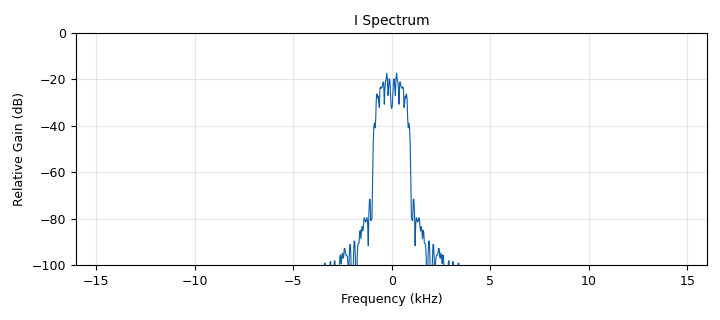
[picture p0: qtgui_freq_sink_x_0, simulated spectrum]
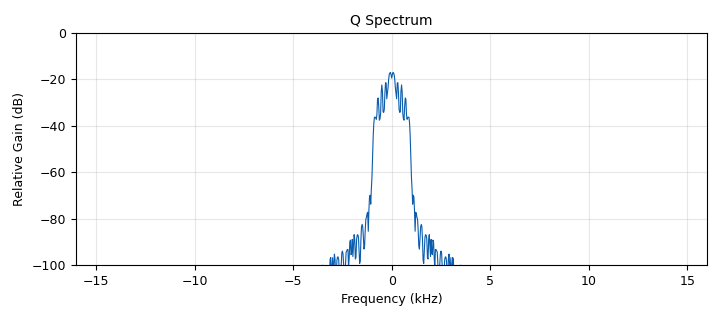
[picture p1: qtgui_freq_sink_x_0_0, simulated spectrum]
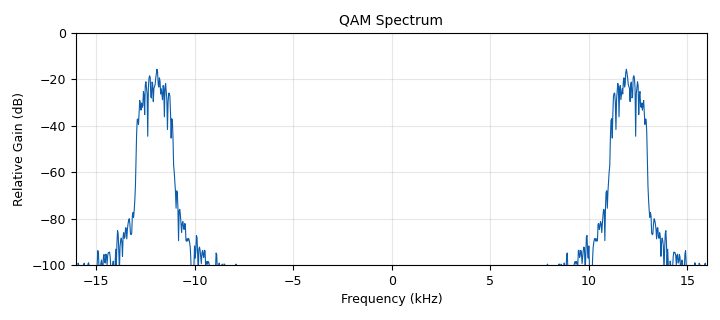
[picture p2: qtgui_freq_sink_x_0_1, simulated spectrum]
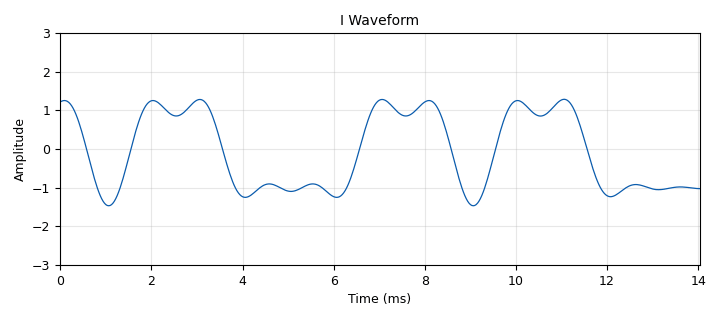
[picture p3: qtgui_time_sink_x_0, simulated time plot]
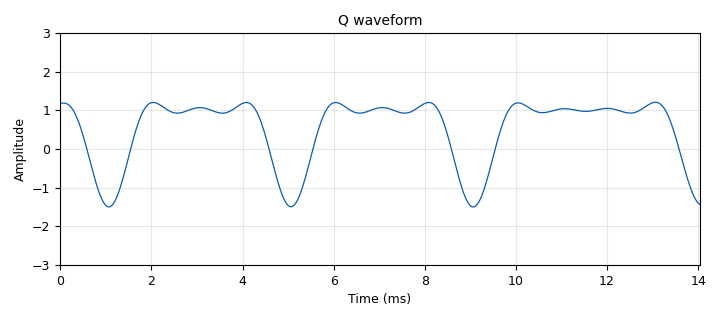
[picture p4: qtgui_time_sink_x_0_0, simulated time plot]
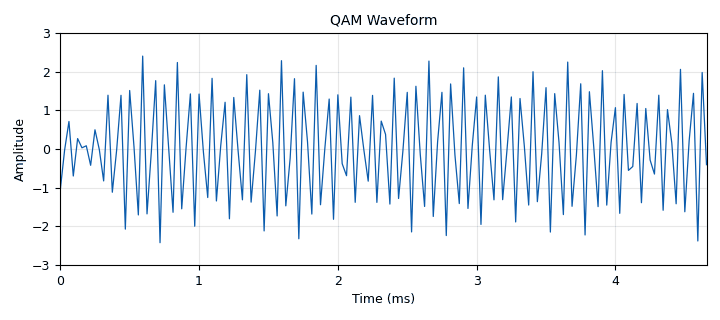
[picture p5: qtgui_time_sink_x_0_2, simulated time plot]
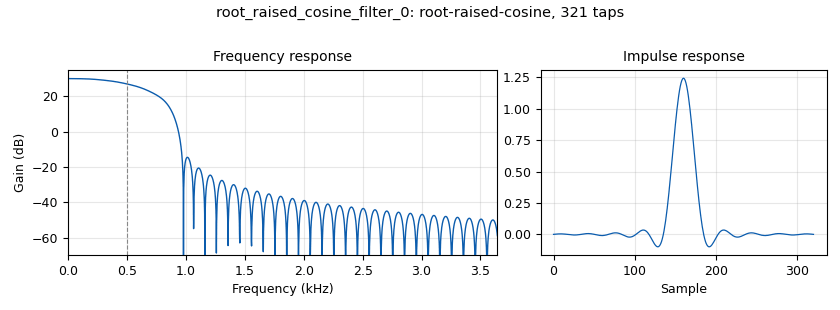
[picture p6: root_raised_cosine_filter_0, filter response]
options:
  parameters:
    author: Qasim Chaudhari
    generate_options: qt_gui
    id: qam_tx_passband
    output_language: python
    title: QAM Tx Passband
  states: {}

blocks:
- name: carrier_freq
  id: variable
  parameters:
    value: '12000'
  states: {}
- name: excess_bw
  id: variable
  parameters:
    value: '0.9'
  states: {}
- name: mod_order
  id: variable
  parameters:
    value: '4'
  states: {}
- name: samp_per_sym
  id: variable
  parameters:
    value: '32'
  states: {}
- name: samp_rate
  id: variable
  parameters:
    value: '32000'
  states: {}
- name: analog_random_source_x_0
  id: analog_random_source_x
  parameters:
    comment: Bits Generation
    max: '2'
    min: '0'
    num_samps: '1000'
    repeat: 'True'
    type: byte
  states: {}
- name: analog_sig_source_x_0
  id: analog_sig_source_x
  parameters:
    amp: math.sqrt(2)
    comment: Local Oscillator Cosine
    freq: carrier_freq
    offset: '0'
    phase: '0'
    samp_rate: samp_rate
    type: float
    waveform: analog.GR_COS_WAVE
  states: {}
- name: analog_sig_source_x_0_0
  id: analog_sig_source_x
  parameters:
    amp: '-math.sqrt(2)'
    comment: Local Oscillator Sine
    freq: carrier_freq
    offset: '0'
    phase: '0'
    samp_rate: samp_rate
    type: float
    waveform: analog.GR_SIN_WAVE
  states: {}
- name: blocks_add_xx_0
  id: blocks_add_xx
  parameters:
    type: float
  states: {}
- name: blocks_char_to_float_0
  id: blocks_char_to_float
  parameters:
    scale: '1'
  states: {}
- name: blocks_char_to_float_0_0
  id: blocks_char_to_float
  parameters:
    scale: '1'
  states: {}
- name: blocks_multiply_xx_0
  id: blocks_multiply_xx
  parameters:
    type: float
  states: {}
- name: blocks_multiply_xx_0_0
  id: blocks_multiply_xx
  parameters:
    type: float
  states: {}
- name: blocks_pack_k_bits_bb_0
  id: blocks_pack_k_bits_bb
  parameters:
    k: int(np.log2(mod_order))
  states: {}
- name: blocks_throttle_0
  id: blocks_throttle
  parameters:
    samples_per_second: samp_rate
    type: byte
  states: {}
- name: digital_map_bb_0
  id: digital_map_bb
  parameters:
    comment: Look-Up Table I
    map: (1,-1,1,-1)
  states: {}
- name: digital_map_bb_0_0
  id: digital_map_bb
  parameters:
    comment: Look-Up Table Q
    map: (1,1,-1,-1)
  states: {}
- name: import_0
  id: import
  parameters:
    imports: import numpy as np; import math
  states: {}
- name: interp_fir_filter_xxx_0
  id: interp_fir_filter_xxx
  parameters:
    comment: Upsampler I
    interp: samp_per_sym
    taps: np.hstack((1,np.zeros(samp_per_sym-1)))
    type: fff
  states: {}
- name: interp_fir_filter_xxx_0_0
  id: interp_fir_filter_xxx
  parameters:
    comment: Upsampler Q
    interp: samp_per_sym
    taps: (np.hstack((1,np.zeros(samp_per_sym-1))))
    type: fff
  states: {}
- name: qtgui_freq_sink_x_0
  id: qtgui_freq_sink_x
  parameters:
    bw: samp_rate
    fc: '0'
    fftsize: '1024'
    grid: 'True'
    gui_hint: '[0,1,1,1]'
    legend: 'False'
    name: I Spectrum
    type: float
    wintype: firdes.WIN_BLACKMAN_hARRIS
    ymax: '0'
    ymin: '-100'
  states: {}
- name: qtgui_freq_sink_x_0_0
  id: qtgui_freq_sink_x
  parameters:
    bw: samp_rate
    color1: '"red"'
    fc: '0'
    fftsize: '1024'
    grid: 'True'
    gui_hint: '[1,1,1,1]'
    legend: 'False'
    name: Q Spectrum
    type: float
    wintype: firdes.WIN_BLACKMAN_hARRIS
    ymax: '0'
    ymin: '-100'
  states: {}
- name: qtgui_freq_sink_x_0_1
  id: qtgui_freq_sink_x
  parameters:
    bw: samp_rate
    fc: '0'
    fftsize: '1024'
    grid: 'True'
    gui_hint: '[1,2,1,1]'
    legend: 'False'
    name: QAM Spectrum
    type: float
    wintype: firdes.WIN_BLACKMAN_hARRIS
    ymax: '0'
    ymin: '-100'
  states: {}
- name: qtgui_time_sink_x_0
  id: qtgui_time_sink_x
  parameters:
    grid: 'True'
    gui_hint: '[0,0,1,1]'
    label1: I
    legend: 'False'
    name: I Waveform
    size: '450'
    srate: samp_rate
    type: float
    update_time: '0.1'
    width1: '2'
    ymax: '3'
    ymin: '-3'
  states: {}
- name: qtgui_time_sink_x_0_0
  id: qtgui_time_sink_x
  parameters:
    color1: red
    grid: 'True'
    gui_hint: '[1,0,1,1]'
    label1: Q
    legend: 'False'
    name: Q waveform
    size: '450'
    srate: samp_rate
    type: float
    width1: '2'
    ymax: '3'
    ymin: '-3'
  states: {}
- name: qtgui_time_sink_x_0_2
  id: qtgui_time_sink_x
  parameters:
    grid: 'True'
    gui_hint: '[0,2,1,1]'
    label1: I
    legend: 'False'
    name: QAM Waveform
    size: '150'
    srate: samp_rate
    type: float
    update_time: '0.1'
    width1: '2'
    ymax: '3'
    ymin: '-3'
  states: {}
- name: root_raised_cosine_filter_0
  id: root_raised_cosine_filter
  parameters:
    alpha: excess_bw
    comment: Pulse Shaping Filter I
    gain: samp_per_sym
    interp: '1'
    ntaps: 10*samp_per_sym+1
    samp_rate: samp_rate
    sym_rate: samp_rate/samp_per_sym
    type: interp_fir_filter_fff
  states: {}
- name: root_raised_cosine_filter_0_0
  id: root_raised_cosine_filter
  parameters:
    alpha: excess_bw
    comment: Pulse Shaping Filter Q
    gain: samp_per_sym
    interp: '1'
    ntaps: 10*samp_per_sym+1
    samp_rate: samp_rate
    sym_rate: samp_rate/samp_per_sym
    type: interp_fir_filter_fff
  states: {}

connections:
- [analog_random_source_x_0, '0', blocks_throttle_0, '0']
- [analog_sig_source_x_0, '0', blocks_multiply_xx_0, '0']
- [analog_sig_source_x_0_0, '0', blocks_multiply_xx_0_0, '1']
- [blocks_add_xx_0, '0', qtgui_freq_sink_x_0_1, '0']
- [blocks_add_xx_0, '0', qtgui_time_sink_x_0_2, '0']
- [blocks_char_to_float_0, '0', interp_fir_filter_xxx_0, '0']
- [blocks_char_to_float_0_0, '0', interp_fir_filter_xxx_0_0, '0']
- [blocks_multiply_xx_0, '0', blocks_add_xx_0, '0']
- [blocks_multiply_xx_0_0, '0', blocks_add_xx_0, '1']
- [blocks_pack_k_bits_bb_0, '0', digital_map_bb_0, '0']
- [blocks_pack_k_bits_bb_0, '0', digital_map_bb_0_0, '0']
- [blocks_throttle_0, '0', blocks_pack_k_bits_bb_0, '0']
- [digital_map_bb_0, '0', blocks_char_to_float_0, '0']
- [digital_map_bb_0_0, '0', blocks_char_to_float_0_0, '0']
- [interp_fir_filter_xxx_0, '0', root_raised_cosine_filter_0, '0']
- [interp_fir_filter_xxx_0_0, '0', root_raised_cosine_filter_0_0, '0']
- [root_raised_cosine_filter_0, '0', blocks_multiply_xx_0, '1']
- [root_raised_cosine_filter_0, '0', qtgui_freq_sink_x_0, '0']
- [root_raised_cosine_filter_0, '0', qtgui_time_sink_x_0, '0']
- [root_raised_cosine_filter_0_0, '0', blocks_multiply_xx_0_0, '0']
- [root_raised_cosine_filter_0_0, '0', qtgui_freq_sink_x_0_0, '0']
- [root_raised_cosine_filter_0_0, '0', qtgui_time_sink_x_0_0, '0']

metadata:
  file_format: 1
